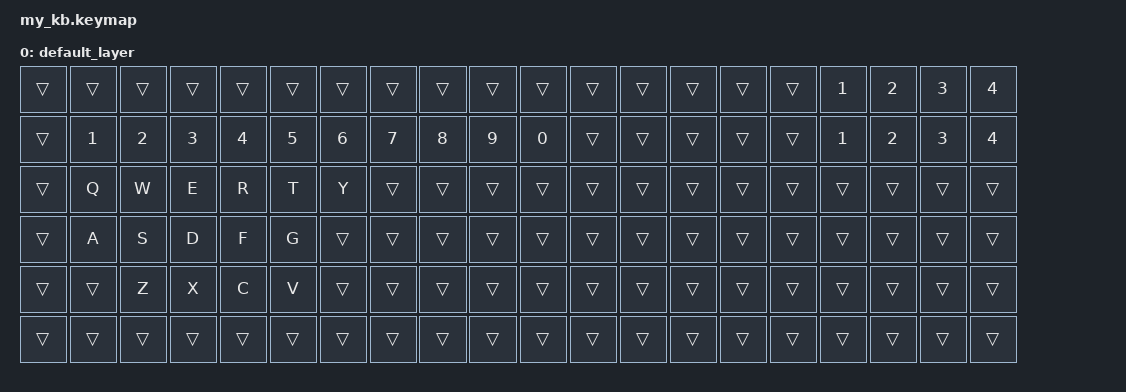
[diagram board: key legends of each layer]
#include <behaviors.dtsi>
#include <dt-bindings/zmk/keys.h>

 / {
    keymap {
        compatible = "zmk,keymap";

        default_layer {
            bindings = <
                &trans &trans &trans &trans &trans &trans &trans &trans &trans &trans &trans &trans &trans &trans &trans &trans &kp NUMBER_1 &kp NUMBER_2 &kp NUMBER_3 &kp NUMBER_4
                &trans &kp NUMBER_1 &kp NUMBER_2 &kp NUMBER_3 &kp NUMBER_4 &kp NUMBER_5 &kp NUMBER_6 &kp NUMBER_7 &kp NUMBER_8 &kp NUMBER_9 &kp NUMBER_0 &trans &trans &trans &trans &trans &kp NUMBER_1 &kp NUMBER_2 &kp NUMBER_3 &kp NUMBER_4
                &trans &kp Q &kp W &kp E &kp R &kp T &kp Y &trans &trans &trans &trans &trans &trans &trans &trans &trans &trans &trans &trans &trans
                &trans &kp A &kp S &kp D &kp F &kp G &trans &trans &trans &trans &trans &trans &trans &trans &trans &trans &trans &trans &trans &trans
                &trans &trans &kp Z &kp X &kp C &kp V &trans &trans &trans &trans &trans &trans &trans &trans &trans &trans &trans &trans &trans &trans
                &trans &trans &trans &trans &trans &trans &trans &trans &trans &trans &trans &trans &trans &trans &trans &trans &trans &trans &trans &trans
            >;
        };
    };
};
